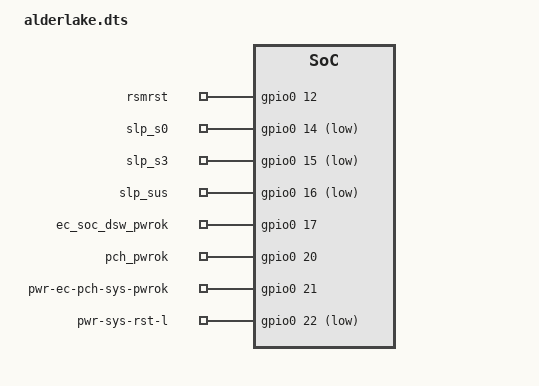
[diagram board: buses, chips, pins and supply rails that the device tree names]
/* Copyright 2022 The ChromiumOS Authors
 * Use of this source code is governed by a BSD-style license that can be
 * found in the LICENSE file.
 */

#include <dt-bindings/gpio_defines.h>

/ {
	common-pwrseq {
		compatible = "intel,ap-pwrseq";
		s5-inactivity-timeout = <1>;
		all-sys-pwrgd-timeout = <50>;
	};

	rsmrst: pwr-pg-ec-rsmrst-odl {
		compatible = "intel,ap-pwrseq-gpio";
		dbg-label = "RSMRST power good from regulator";
		enum-name = "PWR_RSMRST";
		gpios = <&gpio0 12 0>;
		interrupt-flags = <GPIO_INT_EDGE_BOTH>;
	};
	slp_s0: pwr-slp-s0-l {
		compatible = "intel,ap-pwrseq-gpio";
		dbg-label = "SLP_S0_L input from PCH";
		enum-name = "PWR_SLP_S0";
		gpios = <&gpio0 14 GPIO_ACTIVE_LOW>;
		interrupt-flags = <GPIO_INT_EDGE_BOTH>;
		no-enable;
	};
	slp_s3: pwr-slp-s3-l {
		compatible = "intel,ap-pwrseq-gpio";
		dbg-label = "SLP_S3_L input from PCH";
		enum-name = "PWR_SLP_S3";
		gpios = <&gpio0 15 GPIO_ACTIVE_LOW>;
		interrupt-flags = <GPIO_INT_EDGE_BOTH>;
	};
	slp_sus: pwr-slp-sus-l {
		compatible = "intel,ap-pwrseq-gpio";
		dbg-label = "SLP_SUS_L input from PCH";
		enum-name = "PWR_SLP_SUS";
		gpios = <&gpio0 16 GPIO_ACTIVE_LOW>;
		interrupt-flags = <GPIO_INT_EDGE_BOTH>;
	};
	ec_soc_dsw_pwrok: pwr-ec-soc-dsw-pwrok {
		compatible = "intel,ap-pwrseq-gpio";
		dbg-label = "DSW_PWROK output to PCH";
		enum-name = "PWR_EC_SOC_DSW_PWROK";
		gpios = <&gpio0 17 0>;
		output;
	};
	pch_pwrok: pwr-pch-pwrok {
		compatible = "intel,ap-pwrseq-gpio";
		dbg-label = "PCH_PWROK output to PCH";
		enum-name = "PWR_PCH_PWROK";
		gpios = <&gpio0 20 0>;
		output;
	};
	pwr-ec-pch-sys-pwrok {
		compatible = "intel,ap-pwrseq-gpio";
		dbg-label = "SYS_PWROK output to PCH";
		enum-name = "PWR_EC_PCH_SYS_PWROK";
		gpios = <&gpio0 21 0>;
		output;
	};
	pwr-sys-rst-l {
		compatible = "intel,ap-pwrseq-gpio";
		dbg-label = "SYS_RESET# output to PCH";
		enum-name = "PWR_SYS_RST";
		gpios = <&gpio0 22 GPIO_ACTIVE_LOW>;
		output;
	};
	slp_s4: pwr-slp-s4 {
		compatible = "intel,ap-pwrseq-vw";
		dbg-label = "SLP_S4 virtual wire input from PCH";
		enum-name = "PWR_SLP_S4";
		virtual-wire = "ESPI_VWIRE_SIGNAL_SLP_S4";
		vw-invert;
	};
	slp_s5: pwr-slp-s5 {
		compatible = "intel,ap-pwrseq-vw";
		dbg-label = "SLP_S5 virtual wire input from PCH";
		enum-name = "PWR_SLP_S5";
		virtual-wire = "ESPI_VWIRE_SIGNAL_SLP_S5";
		vw-invert;
	};
};
